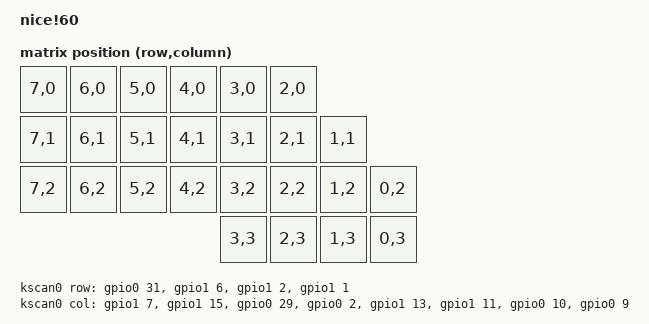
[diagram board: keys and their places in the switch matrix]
/*
 * Copyright (c) 2021 Nick Winans
 *
 * SPDX-License-Identifier: MIT
 */

/dts-v1/;
#include <nordic/nrf52840_qiaa.dtsi>
#include <common/nordic/nrf52840_uf2_boot_mode.dtsi>

#include <dt-bindings/led/led.h>
#include <dt-bindings/zmk/matrix_transform.h>

#include <layouts/common/60percent/ansi.dtsi>

#include "nice60-pinctrl.dtsi"

/ {
    model = "nice!60";
    compatible = "nice,60";

    chosen {
        zmk,kscan = &kscan0;
		zmk,matrix_transform = &default_transform;
    };
        default_transform: keymap_transform_0 {
        compatible = "zmk,matrix-transform";
        columns = <8>;
        rows = <4>;
        map = <
        RC(7,0) RC(6,0) RC(5,0) RC(4,0) RC(3,0) RC(2,0)
        RC(7,1) RC(6,1) RC(5,1) RC(4,1) RC(3,1) RC(2,1) RC(1,1)
        RC(7,2) RC(6,2) RC(5,2) RC(4,2) RC(3,2) RC(2,2) RC(1,2) RC(0,2)
                                        RC(3,3) RC(2,3) RC(1,3) RC(0,3)
        >;/*RC(fila,col)*/
    };

    kscan0: kscan {
        compatible = "zmk,kscan-gpio-matrix";
        wakeup-source;
        diode-direction = "col2row";
        row-gpios
            = <&gpio0 31  (GPIO_ACTIVE_HIGH | GPIO_PULL_DOWN)> /* fila 0 */
            , <&gpio1 6  (GPIO_ACTIVE_HIGH | GPIO_PULL_DOWN)> /* fila 1 */
            , <&gpio1 2 (GPIO_ACTIVE_HIGH | GPIO_PULL_DOWN)> /* fila 2 */
            , <&gpio1 1 (GPIO_ACTIVE_HIGH | GPIO_PULL_DOWN)> /* fila 3 */
            ;
        col-gpios
            = <&gpio1 7 GPIO_ACTIVE_HIGH> /* col 0 */
            , <&gpio1 15  GPIO_ACTIVE_HIGH> /* col 1 */
            , <&gpio0 29 GPIO_ACTIVE_HIGH> /* col 2 */
            , <&gpio0 2 GPIO_ACTIVE_HIGH> /* col 3 */
            , <&gpio1 13 GPIO_ACTIVE_HIGH> /* col 4 */
            , <&gpio1 11 GPIO_ACTIVE_HIGH> /* col 5 */
            , <&gpio0 10  GPIO_ACTIVE_HIGH> /* col 6 */
            , <&gpio0 9  GPIO_ACTIVE_HIGH> /* col 7 */
            ;
    };
&layout_60_ansi {
    transform = <&default_transform>;
};
